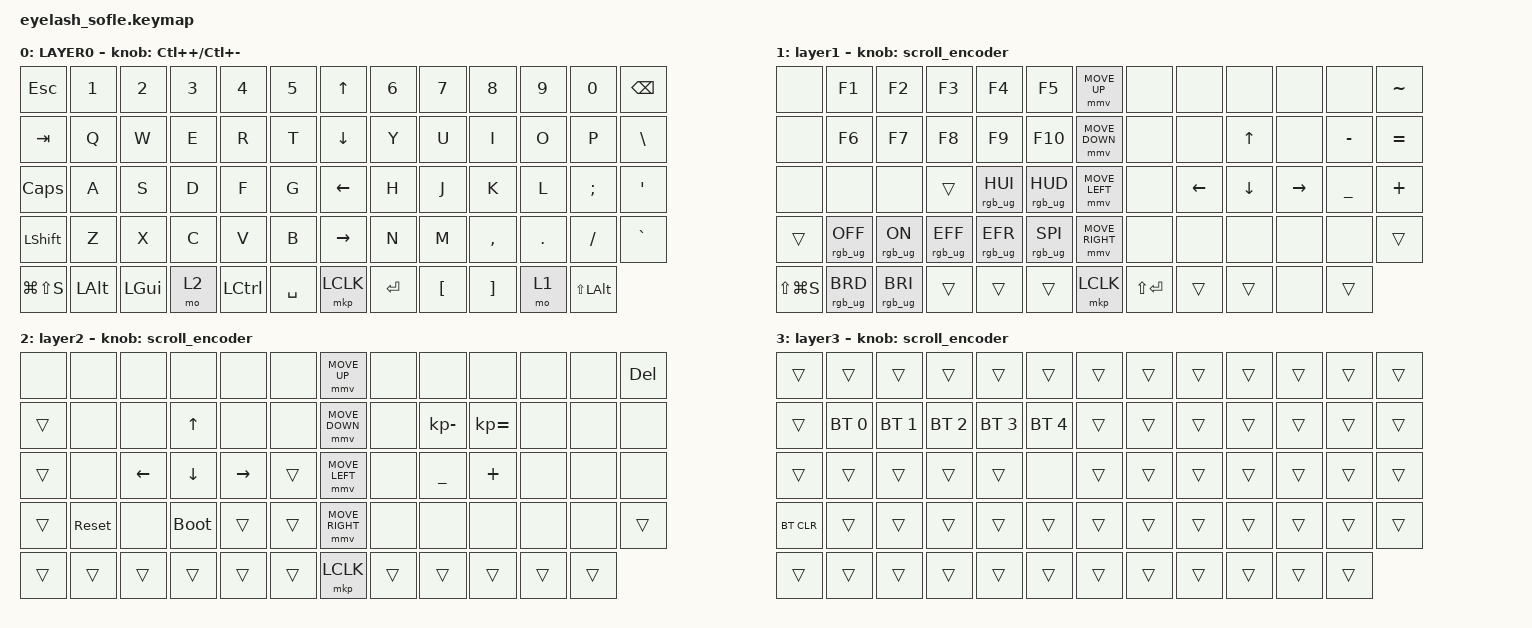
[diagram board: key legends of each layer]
#define ZMK_POINTING_DEFAULT_MOVE_VAL 1200  // 600
#define ZMK_POINTING_DEFAULT_SCRL_VAL 25   // 10

#include <input/processors.dtsi>
#include <zephyr/dt-bindings/input/input-event-codes.h>
#include <behaviors.dtsi>
#include <dt-bindings/zmk/bt.h>
#include <dt-bindings/zmk/keys.h>
#include <dt-bindings/zmk/pointing.h>
#include <dt-bindings/zmk/rgb.h>

&mmv_input_listener { input-processors = <&zip_xy_scaler 2 1>; };

&msc_input_listener { input-processors = <&zip_scroll_scaler 2 1>; };

&msc {
    acceleration-exponent = <1>;      // 0
    time-to-max-speed-ms = <100>;       // 300
    delay-ms = <0>;                   // 0
};

&mmv {
    time-to-max-speed-ms = <500>;
    acceleration-exponent = <1>;
    trigger-period-ms = <16>;
};

&soft_off { hold-time-ms = <2000>; };

/ {
    scroll_encoder: scroll_encoder {
        compatible = "zmk,behavior-sensor-rotate";
        #sensor-binding-cells = <0>;
        bindings = <&msc SCRL_DOWN>, <&msc SCRL_UP>;

        tap-ms = <100>;
    };

    behaviors {
    };

    combos {
        compatible = "zmk,combos";

        softoff {
            bindings = <&soft_off>;
            key-positions = <14 28 40>;
        };
    };

    macros {
        SHIFT_MCLK: SHIFT_MCLK {
            compatible = "zmk,behavior-macro";
            #binding-cells = <0>;
            bindings =
                <&macro_press>,
                <&kp LEFT_SHIFT>,
                <&macro_press>,
                <&mkp MB3>,
                <&macro_pause_for_release>,
                <&macro_release>,
                <&kp LEFT_SHIFT &mkp MB3>;

            label = "SHIFT_MCLK";
        };
    };

    keymap {
        compatible = "zmk,keymap";

        layer0 {
            bindings = <
&kp ESC         &kp N1        &kp N2        &kp N3  &kp N4     &kp N5       &kp UP_ARROW     &kp N6     &kp N7            &kp N8             &kp N9   &kp N0            &kp BACKSPACE
&kp TAB         &kp Q         &kp W         &kp E   &kp R      &kp T        &kp DOWN_ARROW   &kp Y      &kp U             &kp I              &kp O    &kp P             &kp BSLH
&kp CAPS        &kp A         &kp S         &kp D   &kp F      &kp G        &kp LEFT_ARROW   &kp H      &kp J             &kp K              &kp L    &kp SEMICOLON     &kp SQT
&kp LEFT_SHIFT  &kp Z         &kp X         &kp C   &kp V      &kp B        &kp RIGHT_ARROW  &kp N      &kp M             &kp COMMA          &kp DOT  &kp SLASH         &kp GRAVE
&kp LG(LS(S))   &kp LEFT_ALT  &kp LEFT_GUI  &mo 2   &kp LCTRL  &kp SPACE    &mkp LCLK        &kp ENTER  &kp LEFT_BRACKET  &kp RIGHT_BRACKET  &mo 1    &kp LS(LEFT_ALT)
            >;

            sensor-bindings = <&inc_dec_kp LC(PLUS) LC(MINUS)>;
            display-name = "LAYER0";
        };

        layer_1 {
            bindings = <
&none          &kp F1           &kp F2           &kp F3           &kp F4           &kp F5             &mmv MOVE_UP     &none          &none     &none     &none      &none      &kp TILDE
&none          &kp F6           &kp F7           &kp F8           &kp F9           &kp F10            &mmv MOVE_DOWN   &none          &none     &kp UP    &none      &kp MINUS  &kp EQUAL
&none          &none            &none            &trans           &rgb_ug RGB_HUI  &rgb_ug RGB_HUD    &mmv MOVE_LEFT   &none          &kp LEFT  &kp DOWN  &kp RIGHT  &kp UNDER  &kp PLUS
&trans         &rgb_ug RGB_OFF  &rgb_ug RGB_ON   &rgb_ug RGB_EFF  &rgb_ug RGB_EFR  &rgb_ug RGB_SPI    &mmv MOVE_RIGHT  &none          &none     &none     &none      &none      &trans
&kp LS(LG(S))  &rgb_ug RGB_BRD  &rgb_ug RGB_BRI  &trans           &trans           &trans             &mkp LCLK        &kp LS(ENTER)  &trans    &trans    &none      &trans
            >;

            display-name = "layer1";
            sensor-bindings = <&scroll_encoder>;
        };

        layer_2 {
            bindings = <
&none   &none       &none     &none        &none      &none     &mmv MOVE_UP     &none   &none         &none         &none   &none   &kp DELETE
&trans  &none       &none     &kp UP       &none      &none     &mmv MOVE_DOWN   &none   &kp KP_MINUS  &kp KP_EQUAL  &none   &none   &none
&trans  &none       &kp LEFT  &kp DOWN     &kp RIGHT  &trans    &mmv MOVE_LEFT   &none   &kp UNDER     &kp PLUS      &none   &none   &none
&trans  &sys_reset  &none     &bootloader  &trans     &trans    &mmv MOVE_RIGHT  &none   &none         &none         &none   &none   &trans
&trans  &trans      &trans    &trans       &trans     &trans    &mkp LCLK        &trans  &trans        &trans        &trans  &trans
            >;

            display-name = "layer2";
            sensor-bindings = <&scroll_encoder>;
        };

        layer_3 {
            bindings = <
&trans      &trans        &trans        &trans        &trans        &trans          &trans  &trans  &trans  &trans  &trans  &trans  &trans
&trans      &bt BT_SEL 0  &bt BT_SEL 1  &bt BT_SEL 2  &bt BT_SEL 3  &bt BT_SEL 4    &trans  &trans  &trans  &trans  &trans  &trans  &trans
&trans      &trans        &trans        &trans        &trans        &none           &trans  &trans  &trans  &trans  &trans  &trans  &trans
&bt BT_CLR  &trans        &trans        &trans        &trans        &trans          &trans  &trans  &trans  &trans  &trans  &trans  &trans
&trans      &trans        &trans        &trans        &trans        &trans          &trans  &trans  &trans  &trans  &trans  &trans
            >;

            display-name = "layer3";
            sensor-bindings = <&scroll_encoder>;
        };
    };

    conditional_layers {
        compatible = "zmk,conditional-layers";

        lay3 {
            if-layers = <1 2>;
            then-layer = <3>;
        };
    };
};
